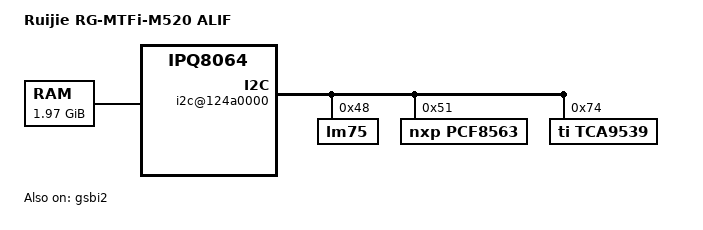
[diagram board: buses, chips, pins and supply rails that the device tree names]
// SPDX-License-Identifier: GPL-2.0-or-later OR MIT

#include "qcom-ipq8064-rg-mtfi-m520.dtsi"

/ {
	model = "Ruijie RG-MTFi-M520 ALIF";
	compatible = "ruijie,rg-mtfi-m520-alif", "qcom,ipq8064";

	memory@0 {
		reg = <0x42000000 0x7e000000>;
		device_type = "memory";
	};
};

&gsbi2 {
	qcom,mode = <GSBI_PROT_I2C_UART>;
	status = "okay";

	i2c@124a0000 {
		status = "okay";

		lm75@48 {
			status = "okay";
			compatible = "lm75";
			reg = <0x48>;
		};

		pcf8563: rtc@51 {
			status = "okay";
			compatible = "nxp,pcf8563";
			reg = <0x51>;
		};

		tca9539@74 {
			status = "okay";
			compatible = "ti,tca9539";
			reg = <0x74>;
		};
	};
};
